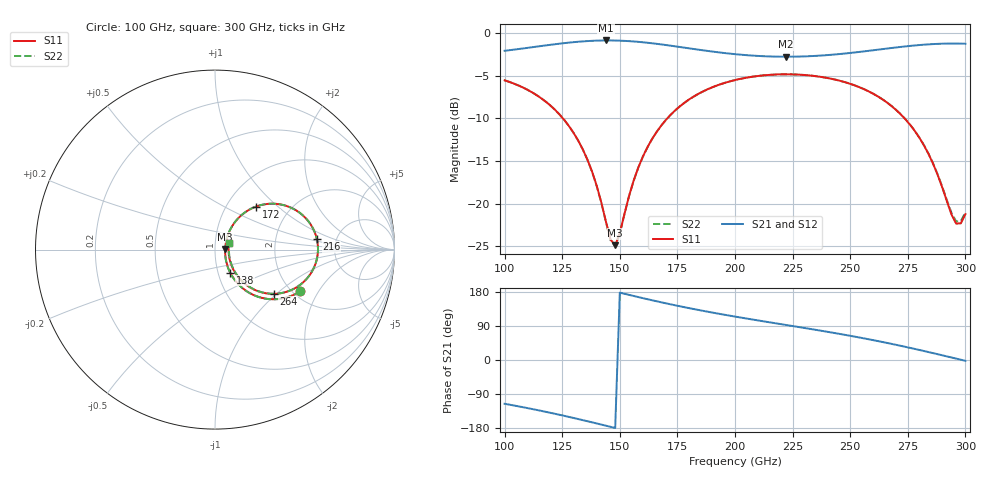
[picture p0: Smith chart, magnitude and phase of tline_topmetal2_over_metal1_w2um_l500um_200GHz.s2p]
#  GHZ S DB R 50
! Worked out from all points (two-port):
!   101 points, 100 GHz to 300 GHz, reference 50 ohm
!   highest |S21| = -0.85 dB at 144 GHz (marker M1); lowest = -2.8 dB at 222 GHz (marker M2)
!   |S21| within 3 dB of the highest: start of sweep to end of sweep
!   lowest |S11| = -24.9 dB at 148 GHz (marker M3), VSWR 1.12, Z = 56 + j0.462 ohm
!   |S11| at or under -10 dB: 125.3 GHz to 170.6 GHz (45.33 GHz wide, 30.6 % of centre); 273.6 GHz to end of sweep
!   |S22| runs from -25.0 to -4.8 dB; largest |S21 - S12| = 1.5e-13
!   S11 on the Smith chart (normalised r, x): 100 GHz: 2.19, -1.41; 138 GHz: 1.14, -0.30; 172 GHz: 1.36, +0.73; 216 GHz: 3.54, +0.62; 264 GHz: 1.62, -0.96; 300 GHz: 1.16, +0.09
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100  -5.53 -25.9  -2.06 -115.5  -2.06 -115.5  -5.53 -26.0
120  -8.52 -45.8  -1.35 -139.5  -1.35 -139.5  -8.52 -45.9
128  -10.93 -53.2  -1.10 -150.3  -1.10 -150.3  -10.93 -53.3
134  -13.68 -56.8  -0.96 -158.8  -0.96 -158.8  -13.68 -57.0
138  -16.29 -56.5  -0.89 -164.6  -0.89 -164.6  -16.30 -56.8
144  -22.15 -40.2  -0.85 -173.4  -0.85 -173.4  -22.20 -40.5
146  -24.25 -22.2  -0.85 -176.4  -0.85 -176.4  -24.33 -22.5
148  -24.91 4.1  -0.86 -179.3  -0.86 -179.3  -25.01 4.2
158  -15.79 53.8  -1.01 166.1  -1.01 166.1  -15.81 54.0
168  -10.84 49.8  -1.31 152.3  -1.31 152.3  -10.85 49.9
172  -9.60 46.4  -1.46 147.0  -1.46 147.0  -9.60 46.4
184  -7.13 35.0  -1.92 132.2  -1.92 132.2  -7.14 35.1
200  -5.50 20.1  -2.46 114.6  -2.46 114.6  -5.50 20.1
216  -4.87 5.9  -2.73 98.5  -2.73 98.5  -4.87 5.9
222  -4.82 0.7  -2.76 92.6  -2.76 92.6  -4.82 0.7
234  -5.01 -9.7  -2.67 80.7  -2.67 80.7  -5.01 -9.7
250  -5.94 -24.1  -2.32 63.8  -2.32 63.8  -5.94 -24.0
264  -7.76 -37.1  -1.86 47.5  -1.86 47.5  -7.76 -37.0
268  -8.56 -40.7  -1.73 42.5  -1.73 42.5  -8.56 -40.5
282  -13.16 -49.7  -1.34 23.7  -1.34 23.7  -13.14 -49.3
296  -22.36 -8.6  -1.21 3.7  -1.21 3.7  -22.11 -8.3
300  -21.25 26.3  -1.23 -2.1  -1.23 -2.1  -21.04 25.5
